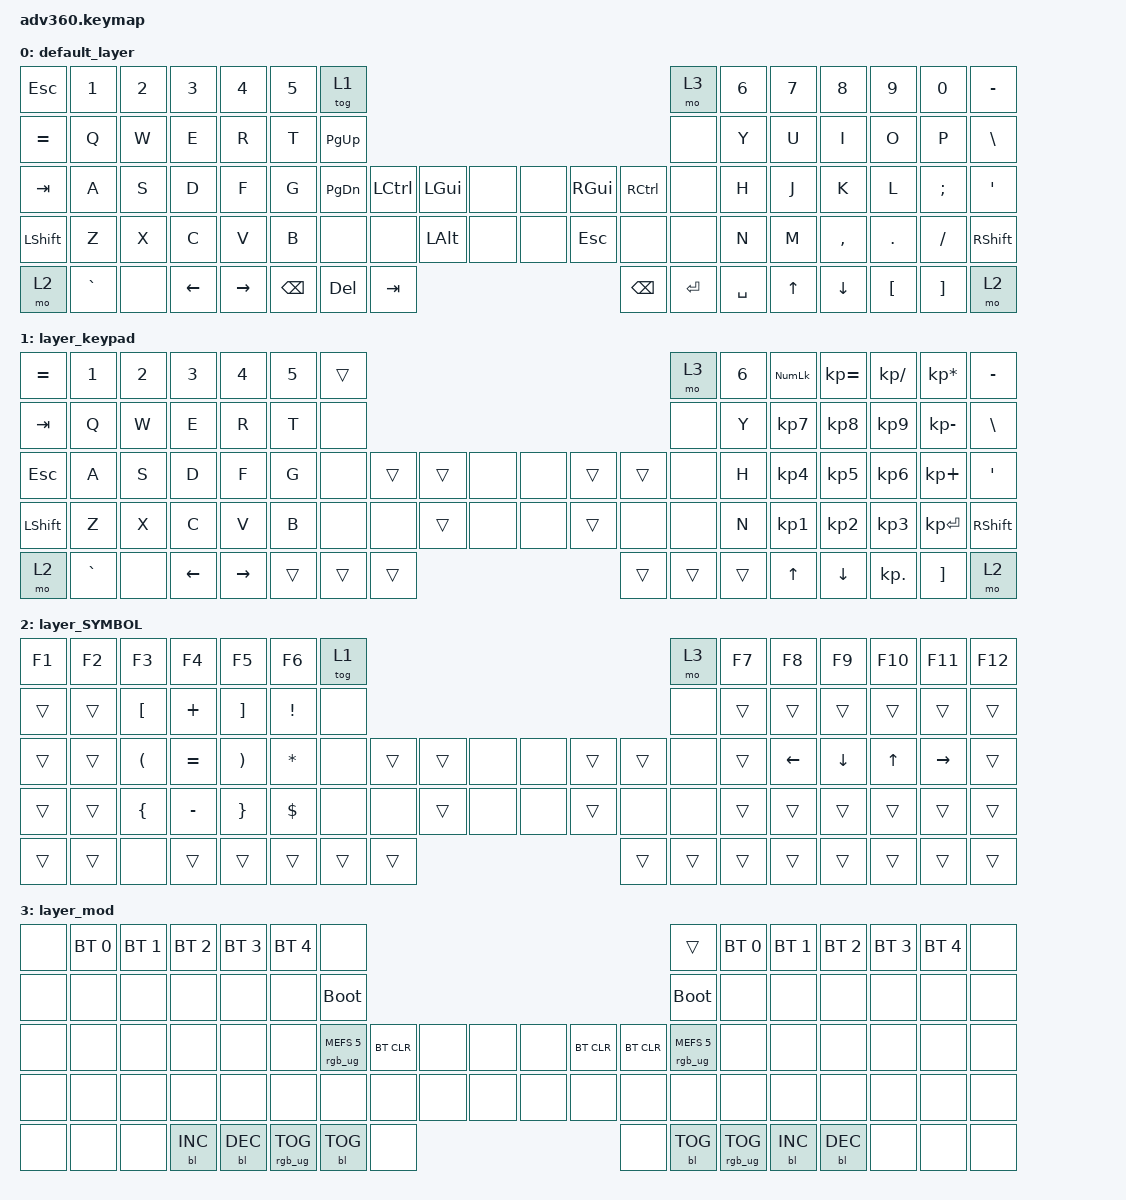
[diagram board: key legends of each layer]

/*
 * Copyright (c) 2020 The ZMK Contributors
 *
 * SPDX-License-Identifier: MIT
 */


/* THIS FILE WAS GENERATED!
 *
 * This file was generated automatically. You may or may not want to
 * edit it directly.
 */

#include <behaviors.dtsi>
#include <dt-bindings/zmk/keys.h>
#include <dt-bindings/zmk/bt.h>
#include <dt-bindings/zmk/rgb.h>
#include <dt-bindings/zmk/backlight.h>

/ {
  behaviors {
    #include "macros.dtsi"

    hm: homerow_mods {
        compatible = "zmk,behavior-hold-tap";
        label = "HOMEROW_MODS";
        #binding-cells = <2>;
        tapping-term-ms = <200>;
        quick_tap_ms = <175>;
        flavor = "tap-preferred";
        bindings = <&kp>, <&kp>;
    };
  };

    keymap {
        compatible = "zmk,keymap";


        default_layer {
            bindings = <
   &kp ESC     &kp N1  &kp N2    &kp N3     &kp N4  &kp N5                   &tog 1                                                                    &mo 3  &kp N6  &kp N7     &kp N8    &kp N9    &kp N0  &kp MINUS
 &kp EQUAL      &kp Q   &kp W     &kp E      &kp R   &kp T              &kp PAGE_UP                                                                    &none   &kp Y   &kp U      &kp I     &kp O     &kp P   &kp BSLH
   &kp TAB      &kp A   &kp S     &kp D      &kp F   &kp G            &kp PAGE_DOWN  &kp LCTRL      &kp LGUI   &none   &none  &kp RGUI  &kp RCTRL      &none   &kp H   &kp J      &kp K     &kp L  &kp SEMI    &kp SQT
 &kp LSHFT      &kp Z   &kp X     &kp C      &kp V   &kp B                    &none      &none  &kp LEFT_ALT   &none   &none   &kp ESC      &none      &none   &kp N   &kp M  &kp COMMA   &kp DOT  &kp FSLH  &kp RSHFT
     &mo 2  &kp GRAVE   &none  &kp LEFT  &kp RIGHT                         &kp BSPC    &kp DEL       &kp TAB                  &kp BSPC  &kp ENTER  &kp SPACE          &kp UP   &kp DOWN  &kp LBKT  &kp RBKT      &mo 2
            >;
        };

        layer_keypad {
            bindings = <
 &kp EQUAL     &kp N1  &kp N2    &kp N3     &kp N4  &kp N5            &trans                                                   &mo 3  &kp N6  &kp KP_NUM  &kp KP_EQUAL  &kp KP_DIVIDE  &kp KP_MULTIPLY  &kp MINUS
   &kp TAB      &kp Q   &kp W     &kp E      &kp R   &kp T             &none                                                   &none   &kp Y   &kp KP_N7     &kp KP_N8      &kp KP_N9     &kp KP_MINUS   &kp BSLH
   &kp ESC      &kp A   &kp S     &kp D      &kp F   &kp G             &none  &trans  &trans   &none   &none  &trans  &trans   &none   &kp H   &kp KP_N4     &kp KP_N5      &kp KP_N6      &kp KP_PLUS    &kp SQT
 &kp LSHFT      &kp Z   &kp X     &kp C      &kp V   &kp B             &none   &none  &trans   &none   &none  &trans   &none   &none   &kp N   &kp KP_N1     &kp KP_N2      &kp KP_N3     &kp KP_ENTER  &kp RSHFT
     &mo 2  &kp GRAVE   &none  &kp LEFT  &kp RIGHT                    &trans  &trans  &trans                  &trans  &trans  &trans              &kp UP      &kp DOWN     &kp KP_DOT         &kp RBKT      &mo 2
            >;
        };

        layer_SYMBOL {
            bindings = <
 &kp F1  &kp F2                &kp F3     &kp F4                 &kp F5           &kp F6            &tog 1                                                   &mo 3  &kp F7          &kp F8          &kp F9       &kp F10          &kp F11  &kp F12
 &trans  &trans      &kp LEFT_BRACKET   &kp PLUS      &kp RIGHT_BRACKET  &kp EXCLAMATION             &none                                                   &none  &trans          &trans          &trans        &trans           &trans   &trans
 &trans  &trans  &kp LEFT_PARENTHESIS  &kp EQUAL  &kp RIGHT_PARENTHESIS     &kp ASTERISK             &none  &trans  &trans   &none   &none  &trans  &trans   &none  &trans  &kp LEFT_ARROW  &kp DOWN_ARROW  &kp UP_ARROW  &kp RIGHT_ARROW   &trans
 &trans  &trans        &kp LEFT_BRACE  &kp MINUS        &kp RIGHT_BRACE       &kp DOLLAR             &none   &none  &trans   &none   &none  &trans   &none   &none  &trans          &trans          &trans        &trans           &trans   &trans
 &trans  &trans                 &none     &trans                 &trans                             &trans  &trans  &trans                  &trans  &trans  &trans                  &trans          &trans        &trans           &trans   &trans
            >;
        };

        layer_mod {
            bindings = <
  &none  &bt BT_SEL 0  &bt BT_SEL 1  &bt BT_SEL 2  &bt BT_SEL 3  &bt BT_SEL 4                             &none                                                                              &trans  &bt BT_SEL 0  &bt BT_SEL 1  &bt BT_SEL 2  &bt BT_SEL 3  &bt BT_SEL 4   &none
  &none         &none         &none         &none         &none         &none                       &bootloader                                                                         &bootloader         &none         &none         &none         &none         &none   &none
  &none         &none         &none         &none         &none         &none            &rgb_ug RGB_MEFS_CMD 5  &bt BT_CLR   &none   &none   &none  &bt BT_CLR  &bt BT_CLR  &rgb_ug RGB_MEFS_CMD 5         &none         &none         &none         &none         &none   &none
  &none         &none         &none         &none         &none         &none                             &none       &none   &none   &none   &none       &none       &none                   &none         &none         &none         &none         &none         &none   &none
  &none         &none         &none    &bl BL_INC    &bl BL_DEC                                 &rgb_ug RGB_TOG  &bl BL_TOG   &none                       &none  &bl BL_TOG         &rgb_ug RGB_TOG                  &bl BL_INC    &bl BL_DEC         &none         &none   &none
            >;
        };

    };
};
